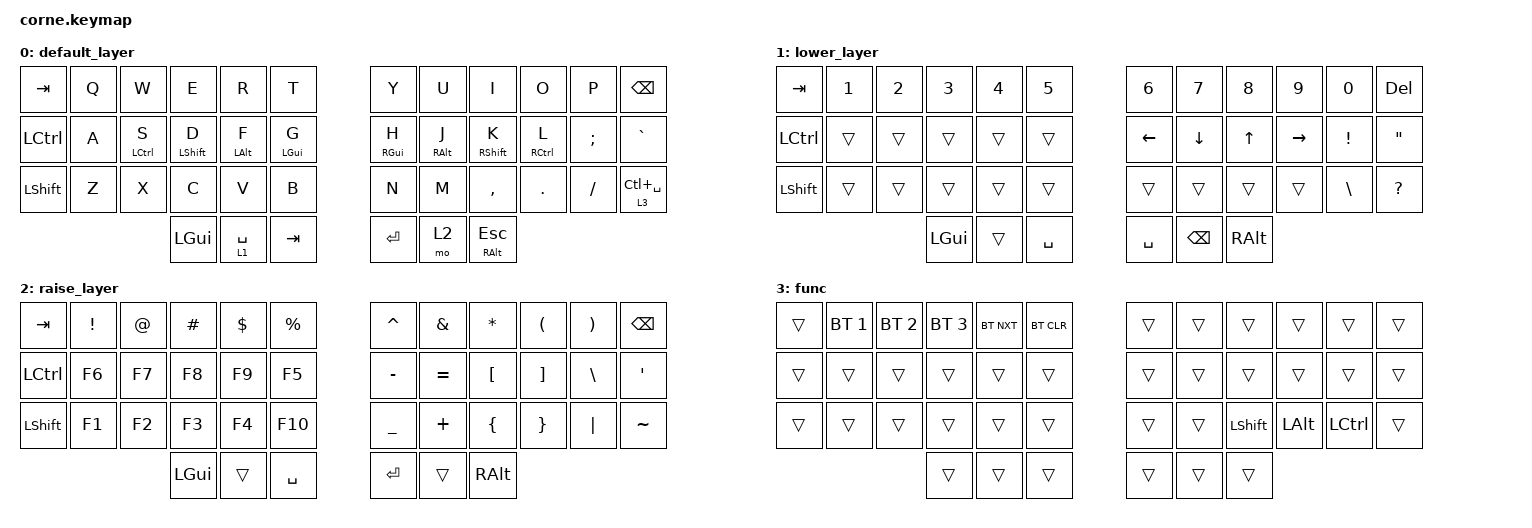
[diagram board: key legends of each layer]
/*
 * Copyright (c) 2020 The ZMK Contributors
 *
 * SPDX-License-Identifier: MIT
 */

#include <behaviors.dtsi>
#include <dt-bindings/zmk/bt.h>
#include <dt-bindings/zmk/keys.h>

/ {
    combos {
        compatible = "zmk,combos";

        l_parentheses {
            bindings = <&kp LEFT_PARENTHESIS>;
            key-positions = <4 5>;
        };

        r_parentheses {
            bindings = <&kp RIGHT_PARENTHESIS>;
            key-positions = <6 7>;
        };

        l_bracket {
            bindings = <&kp LEFT_BRACE>;
            key-positions = <16 17>;
        };

        r_bracket {
            bindings = <&kp RIGHT_BRACE>;
            key-positions = <18 19>;
        };

        l_brace {
            bindings = <&kp LEFT_BRACKET>;
            key-positions = <28 29>;
        };

        r_brace {
            bindings = <&kp RIGHT_BRACKET>;
            key-positions = <30 31>;
        };

        eq {
            bindings = <&kp EQUAL>;
            key-positions = <19 20>;
        };

        colon {
            bindings = <&kp COLON>;
            key-positions = <15 16>;
        };
    };

    behaviors {
        ss_hs_modmorph: ss_hs_modmorph {
            compatible = "zmk,behavior-mod-morph";
            label = "SS_HS_MODMORPH";
            bindings = <&kp M>, <&kp RIGHT_BRACKET>;

            #binding-cells = <0>;
            mods = <(MOD_LSFT|MOD_RSFT)>;
        };

        kh_hs_tapdance: kh_hs_tapdance {
            compatible = "zmk,behavior-tap-dance";
            label = "KH_HS_TAPDANCE";
            #binding-cells = <0>;
            tapping-term-ms = <200>;
            bindings = <&kp LEFT_BRACKET>, <&kp RIGHT_BRACKET>;
        };

        hrm: hrm {
            compatible = "zmk,behavior-hold-tap";
            #binding-cells = <2>;
            flavor = "tap-preferred";
            tapping-term-ms = <200>;
            quick-tap-ms = <200>;
            require-prior-idle-ms = <125>;
            bindings = <&kp>, <&kp>;
        };
    };

    keymap {
        compatible = "zmk,keymap";

        default_layer {
            // -----------------------------------------------------------------------------------------
            // |  TAB |  Q  |  W  |  E  |  R  |  T  |   |  Y  |  U   |  I  |  O  |  P  | BKSP |
            // | CTRL |  A  |  S  |  D  |  F  |  G  |   |  H  |  J   |  K  |  L  |  ;  |  '   |
            // | SHFT |  Z  |  X  |  C  |  V  |  B  |   |  N  |  M   |  ,  |  .  |  /  | ESC  |
            //                    | GUI | LWR | SPC |   | ENT | RSE  | ALT |

            bindings = <
&kp TAB    &kp Q  &kp W         &kp E              &kp R            &kp T              &kp Y             &kp U             &kp I               &kp O         &kp P     &kp BSPC
&kp LCTRL  &kp A  &hrm LCTRL S  &hrm LEFT_SHIFT D  &hrm LEFT_ALT F  &hrm LEFT_GUI G    &hrm RIGHT_GUI H  &hrm RIGHT_ALT J  &hrm RIGHT_SHIFT K  &hrm RCTRL L  &kp SEMI  &kp GRAVE
&kp LSHFT  &kp Z  &kp X         &kp C              &kp V            &kp B              &kp N             &kp M             &kp COMMA           &kp DOT       &kp FSLH  &lt 3 LC(SPACE)
                                &kp LGUI           &lt 1 SPACE      &kp TAB            &kp RET           &mo 2             &mt RALT ESC
            >;
        };

        lower_layer {
            // -----------------------------------------------------------------------------------------
            // |  TAB |  1  |  2  |  3  |  4  |  5  |   |  6  |  7  |  8  |  9  |  0  | BKSP |
            // | BTCLR| BT1 | BT2 | BT3 | BT4 | BT5 |   | LFT | DWN |  UP | RGT |     |      |
            // | SHFT |     |     |     |     |     |   |     |     |     |     |     |      |
            //                    | GUI |     | SPC |   | ENT |     | ALT |

            bindings = <
&kp TAB           &kp N1  &kp N2  &kp N3        &kp N4  &kp N5       &kp N6     &kp N7         &kp N8    &kp N9     &kp N0    &kp DEL
&kp LEFT_CONTROL  &trans  &trans  &trans        &trans  &trans       &kp LEFT   &kp DOWN       &kp UP    &kp RIGHT  &kp EXCL  &kp DOUBLE_QUOTES
&kp LSHFT         &trans  &trans  &trans        &trans  &trans       &trans     &trans         &trans    &trans     &kp BSLH  &kp QMARK
                                  &kp LEFT_GUI  &trans  &kp SPACE    &kp SPACE  &kp BACKSPACE  &kp RALT
            >;
        };

        raise_layer {
            // -----------------------------------------------------------------------------------------
            // |  TAB |  !  |  @  |  #  |  $  |  %  |   |  ^  |  &  |  *  |  (  |  )  | BKSP |
            // | CTRL |     |     |     |     |     |   |  -  |  =  |  [  |  ]  |  \  |  `   |
            // | SHFT |     |     |     |     |     |   |  _  |  +  |  {  |  }  | "|" |  ~   |
            //                    | GUI |     | SPC |   | ENT |     | ALT |

            bindings = <
&kp TAB    &kp EXCL  &kp AT  &kp HASH  &kp DLLR  &kp PRCNT    &kp CARET  &kp AMPS   &kp ASTRK  &kp LPAR  &kp RPAR  &kp BSPC
&kp LCTRL  &kp F6    &kp F7  &kp F8    &kp F9    &kp F5       &kp MINUS  &kp EQUAL  &kp LBKT   &kp RBKT  &kp BSLH  &kp SQT
&kp LSHFT  &kp F1    &kp F2  &kp F3    &kp F4    &kp F10      &kp UNDER  &kp PLUS   &kp LBRC   &kp RBRC  &kp PIPE  &kp TILDE
                             &kp LGUI  &trans    &kp SPACE    &kp RET    &trans     &kp RALT
            >;
        };

        func {
            bindings = <
&trans  &bt BT_SEL 1  &bt BT_SEL 2  &bt BT_SEL 3  &bt BT_NXT  &bt BT_CLR    &trans  &trans  &trans          &trans        &trans            &trans
&trans  &trans        &trans        &trans        &trans      &trans        &trans  &trans  &trans          &trans        &trans            &trans
&trans  &trans        &trans        &trans        &trans      &trans        &trans  &trans  &kp LEFT_SHIFT  &kp LEFT_ALT  &kp LEFT_CONTROL  &trans
                                    &trans        &trans      &trans        &trans  &trans  &trans
            >;
        };
    };
};
